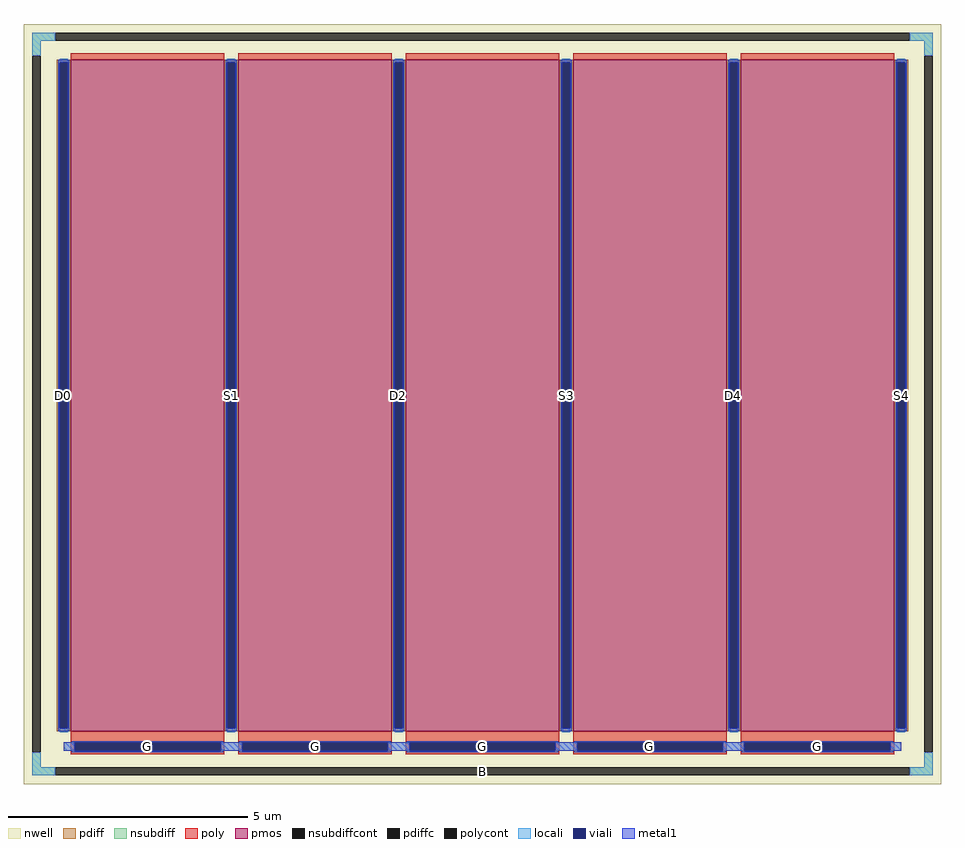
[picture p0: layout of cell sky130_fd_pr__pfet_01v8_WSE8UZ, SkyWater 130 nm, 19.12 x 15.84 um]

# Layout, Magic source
magic
tech sky130A
magscale 1 2
<< nwell >>
rect -1912 -1584 1912 1584
<< pmos >>
rect -1716 -1364 -1076 1436
rect -1018 -1364 -378 1436
rect -320 -1364 320 1436
rect 378 -1364 1018 1436
rect 1076 -1364 1716 1436
<< pdiff >>
rect -1774 1424 -1716 1436
rect -1774 -1352 -1762 1424
rect -1728 -1352 -1716 1424
rect -1774 -1364 -1716 -1352
rect -1076 1424 -1018 1436
rect -1076 -1352 -1064 1424
rect -1030 -1352 -1018 1424
rect -1076 -1364 -1018 -1352
rect -378 1424 -320 1436
rect -378 -1352 -366 1424
rect -332 -1352 -320 1424
rect -378 -1364 -320 -1352
rect 320 1424 378 1436
rect 320 -1352 332 1424
rect 366 -1352 378 1424
rect 320 -1364 378 -1352
rect 1018 1424 1076 1436
rect 1018 -1352 1030 1424
rect 1064 -1352 1076 1424
rect 1018 -1364 1076 -1352
rect 1716 1424 1774 1436
rect 1716 -1352 1728 1424
rect 1762 -1352 1774 1424
rect 1716 -1364 1774 -1352
<< pdiffc >>
rect -1762 -1352 -1728 1424
rect -1064 -1352 -1030 1424
rect -366 -1352 -332 1424
rect 332 -1352 366 1424
rect 1030 -1352 1064 1424
rect 1728 -1352 1762 1424
<< nsubdiff >>
rect -1876 1514 -1780 1548
rect 1780 1514 1876 1548
rect -1876 1451 -1842 1514
rect 1842 1451 1876 1514
rect -1876 -1514 -1842 -1451
rect 1842 -1514 1876 -1451
rect -1876 -1548 -1780 -1514
rect 1780 -1548 1876 -1514
<< nsubdiffcont >>
rect -1780 1514 1780 1548
rect -1876 -1451 -1842 1451
rect 1842 -1451 1876 1451
rect -1780 -1548 1780 -1514
<< poly >>
rect -1716 1436 -1076 1462
rect -1018 1436 -378 1462
rect -320 1436 320 1462
rect 378 1436 1018 1462
rect 1076 1436 1716 1462
rect -1716 -1411 -1076 -1364
rect -1716 -1445 -1700 -1411
rect -1092 -1445 -1076 -1411
rect -1716 -1461 -1076 -1445
rect -1018 -1411 -378 -1364
rect -1018 -1445 -1002 -1411
rect -394 -1445 -378 -1411
rect -1018 -1461 -378 -1445
rect -320 -1411 320 -1364
rect -320 -1445 -304 -1411
rect 304 -1445 320 -1411
rect -320 -1461 320 -1445
rect 378 -1411 1018 -1364
rect 378 -1445 394 -1411
rect 1002 -1445 1018 -1411
rect 378 -1461 1018 -1445
rect 1076 -1411 1716 -1364
rect 1076 -1445 1092 -1411
rect 1700 -1445 1716 -1411
rect 1076 -1461 1716 -1445
<< polycont >>
rect -1700 -1445 -1092 -1411
rect -1002 -1445 -394 -1411
rect -304 -1445 304 -1411
rect 394 -1445 1002 -1411
rect 1092 -1445 1700 -1411
<< locali >>
rect -1876 1514 -1780 1548
rect 1780 1514 1876 1548
rect -1876 1451 -1842 1514
rect 1842 1451 1876 1514
rect -1762 1424 -1728 1440
rect -1762 -1368 -1728 -1352
rect -1064 1424 -1030 1440
rect -1064 -1368 -1030 -1352
rect -366 1424 -332 1440
rect -366 -1368 -332 -1352
rect 332 1424 366 1440
rect 332 -1368 366 -1352
rect 1030 1424 1064 1440
rect 1030 -1368 1064 -1352
rect 1728 1424 1762 1440
rect 1728 -1368 1762 -1352
rect -1745 -1445 -1700 -1411
rect -1092 -1445 -1002 -1411
rect -394 -1445 -304 -1411
rect 304 -1445 394 -1411
rect 1002 -1445 1092 -1411
rect 1700 -1445 1745 -1411
rect -1876 -1514 -1842 -1451
rect 1842 -1514 1876 -1451
rect -1876 -1548 -1780 -1514
rect 1780 -1548 1876 -1514
<< viali >>
rect -1762 -1352 -1728 1424
rect -1064 -1352 -1030 1424
rect -366 -1352 -332 1424
rect 332 -1352 366 1424
rect 1030 -1352 1064 1424
rect 1728 -1352 1762 1424
rect -1700 -1445 -1092 -1411
rect -1002 -1445 -394 -1411
rect -304 -1445 304 -1411
rect 394 -1445 1002 -1411
rect 1092 -1445 1700 -1411
<< metal1 >>
rect -1768 1424 -1722 1436
rect -1768 -1352 -1762 1424
rect -1728 -1352 -1722 1424
rect -1768 -1364 -1722 -1352
rect -1070 1424 -1024 1436
rect -1070 -1352 -1064 1424
rect -1030 -1352 -1024 1424
rect -1070 -1364 -1024 -1352
rect -372 1424 -326 1436
rect -372 -1352 -366 1424
rect -332 -1352 -326 1424
rect -372 -1364 -326 -1352
rect 326 1424 372 1436
rect 326 -1352 332 1424
rect 366 -1352 372 1424
rect 326 -1364 372 -1352
rect 1024 1424 1070 1436
rect 1024 -1352 1030 1424
rect 1064 -1352 1070 1424
rect 1024 -1364 1070 -1352
rect 1722 1424 1768 1436
rect 1722 -1352 1728 1424
rect 1762 -1352 1768 1424
rect 1722 -1364 1768 -1352
rect -1712 -1411 -1080 -1405
rect -1014 -1411 -382 -1405
rect -316 -1411 316 -1405
rect 382 -1411 1014 -1405
rect 1080 -1411 1712 -1405
rect -1745 -1445 -1700 -1411
rect -1092 -1445 -1002 -1411
rect -394 -1445 -304 -1411
rect 304 -1445 394 -1411
rect 1002 -1445 1092 -1411
rect 1700 -1445 1745 -1411
rect -1712 -1451 -1080 -1445
rect -1014 -1451 -382 -1445
rect -316 -1451 316 -1445
rect 382 -1451 1014 -1445
rect 1080 -1451 1712 -1445
<< labels >>
rlabel nsubdiffcont 0 -1531 0 -1531 0 B
port 1 nsew
rlabel pdiffc -1745 36 -1745 36 0 D0
port 2 nsew
rlabel polycont -1396 -1428 -1396 -1428 0 G
port 3 nsew
rlabel pdiffc -1047 36 -1047 36 0 S1
port 4 nsew
rlabel polycont -698 -1428 -698 -1428 0 G
port 3 nsew
rlabel pdiffc -349 36 -349 36 0 D2
port 5 nsew
rlabel polycont 0 -1428 0 -1428 0 G
port 3 nsew
rlabel pdiffc 349 36 349 36 0 S3
port 6 nsew
rlabel polycont 698 -1428 698 -1428 0 G
port 3 nsew
rlabel pdiffc 1047 36 1047 36 0 D4
port 7 nsew
rlabel pdiffc 1745 36 1745 36 0 S4
port 8 nsew
rlabel polycont 1396 -1428 1396 -1428 0 G
port 3 nsew
<< properties >>
string FIXED_BBOX -1859 -1531 1859 1531
string gencell sky130_fd_pr__pfet_01v8
string library sky130
string parameters w 14 l 3.2 m 1 nf 5 diffcov 100 polycov 100 guard 1 glc 1 grc 1 gtc 1 gbc 1 tbcov 100 rlcov 100 topc 0 botc 1 poverlap 0 doverlap 1 lmin 0.15 wmin 0.42 class mosfet compatible {sky130_fd_pr__pfet_01v8  sky130_fd_pr__pfet_01v8_lvt sky130_fd_pr__pfet_01v8_hvt  sky130_fd_pr__pfet_g5v0d10v5} full_metal 1 conn_gates 1 viasrc 100 viadrn 100 viagate 100 viagb 0 viagr 0 viagl 0 viagt 0 doports 1
<< end >>
